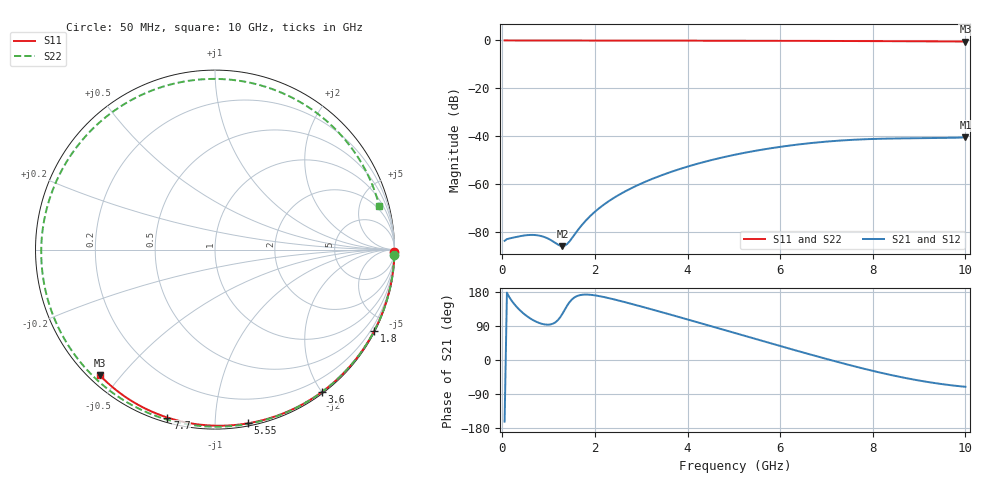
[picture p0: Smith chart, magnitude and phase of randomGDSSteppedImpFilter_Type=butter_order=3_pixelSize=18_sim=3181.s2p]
! freq	dB(S11)	phase(S11)	dB(S12)	phase(S12)
!  dB(S21)	phase(S21)	dB(S22)	phase(S22)
!S-par simulation data
#  GHz  S  DB  R 50
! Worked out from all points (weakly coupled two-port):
!   200 points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, 50 MHz to 10 GHz, reference 50 ohm
!   highest |S21| = -40.44 dB at 10 GHz (marker M1); lowest = -85.8 dB at 1.3 GHz (marker M2)
!   lowest |S11| = -0.4 dB at 10 GHz (marker M3), VSWR 38.75, Z = 1.54 - j22 ohm
!   |S11| at or under -10 dB: nowhere
!   |S22| runs from -0.5 to 0.0 dB; largest |S21 - S12| = 0
!   S11 on the Smith chart (normalised r, x): 50 MHz: open; 1.8 GHz: 0.04, -4.15; 3.6 GHz: 0.02, -2.00; 5.55 GHz: 0.02, -1.21; 7.7 GHz: 0.02, -0.76; 10 GHz: 0.03, -0.44
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0.05  -0.00 -0.8  -83.57 -162.6  -83.57 -162.6  -0.00 -1.7
0.65  -0.01 -9.9  -81.11 106.3  -81.11 106.3  -0.02 -22.0
1.3  -0.02 -19.7  -85.80 122.3  -85.80 122.3  -0.05 -43.6
1.6  -0.03 -24.2  -79.92 168.0  -79.92 168.0  -0.07 -53.4
1.75  -0.03 -26.4  -76.27 172.5  -76.27 172.5  -0.07 -58.3
1.8  -0.03 -27.1  -75.19 172.7  -75.19 172.7  -0.08 -59.9
2.1  -0.04 -31.5  -69.84 168.5  -69.84 168.5  -0.09 -69.6
2.45  -0.05 -36.6  -65.18 158.9  -65.18 158.9  -0.10 -80.7
2.9  -0.06 -43.1  -60.57 144.5  -60.57 144.5  -0.12 -94.9
3.4  -0.07 -50.2  -56.52 127.7  -56.52 127.7  -0.14 -110.4
3.6  -0.07 -53.0  -55.12 120.9  -55.12 120.9  -0.15 -116.6
4.35  -0.09 -63.3  -50.72 94.8  -50.72 94.8  -0.20 -139.9
5.05  -0.11 -72.7  -47.55 70.1  -47.55 70.1  -0.24 -161.9
5.55  -0.13 -79.2  -45.74 52.5  -45.74 52.5  -0.28 -178.2
6.15  -0.15 -86.9  -43.98 31.7  -43.98 31.7  -0.32 161.5
6.7  -0.18 -93.7  -42.73 12.9  -42.73 12.9  -0.36 142.0
7.25  -0.21 -100.4  -41.81 -5.4  -41.81 -5.4  -0.40 121.6
7.7  -0.24 -105.8  -41.31 -19.7  -41.31 -19.7  -0.42 104.3
8.35  -0.29 -113.5  -40.92 -38.5  -40.92 -38.5  -0.44 78.6
8.8  -0.33 -118.7  -40.81 -49.7  -40.81 -49.7  -0.45 60.7
9.25  -0.37 -123.9  -40.75 -59.2  -40.75 -59.2  -0.46 43.0
10  -0.45 -132.4  -40.44 -70.7  -40.44 -70.7  -0.47 15.0
